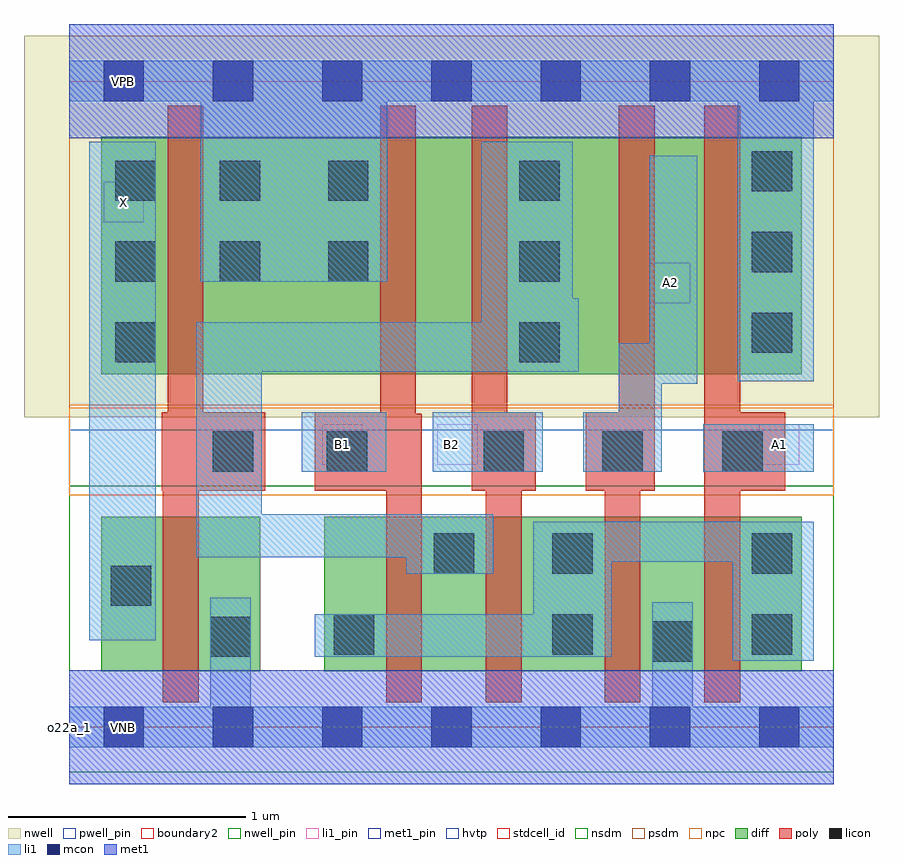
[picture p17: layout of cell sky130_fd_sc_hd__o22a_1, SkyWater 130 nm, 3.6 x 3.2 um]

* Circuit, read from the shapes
.subckt sky130_fd_sc_hd__o22a_1 A1 A2 B1 B2 VGND VNB VPB VPWR X
XM1 VGND n1 X VNB sky130_fd_pr__nfet_01v8 w=0.65 l=0.15
XM2 n1 B1 n2 VNB sky130_fd_pr__nfet_01v8 w=0.65 l=0.15
XM3 n2 B2 n1 VNB sky130_fd_pr__nfet_01v8 w=0.65 l=0.15
XM4 VGND A2 n2 VNB sky130_fd_pr__nfet_01v8 w=0.65 l=0.15
XM5 n2 A1 VGND VNB sky130_fd_pr__nfet_01v8 w=0.65 l=0.15
XM6 VPWR n1 X VPB sky130_fd_pr__pfet_01v8_hvt w=1 l=0.15
XM7 n3 B1 VPWR VPB sky130_fd_pr__pfet_01v8_hvt w=1 l=0.15
XM8 n1 B2 n3 VPB sky130_fd_pr__pfet_01v8_hvt w=1 l=0.15
XM9 n4 A2 n1 VPB sky130_fd_pr__pfet_01v8_hvt w=1 l=0.15
XM10 VPWR A1 n4 VPB sky130_fd_pr__pfet_01v8_hvt w=1 l=0.15
.ends

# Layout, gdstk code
import gdstk
lib = gdstk.Library(unit=1e-6, precision=1e-09)
def R(c, l, rs):  # rectangles x0, y0, x1, y1
    for r in rs: c.add(gdstk.rectangle(r[:2], r[2:], *l))
def A(c, l, x, y, w, h, nx, ny, dx, dy):  # array of equal rectangles
    R(c, l, [(x+i*dx, y+j*dy, x+i*dx+w, y+j*dy+h) for i in range(nx) for j in range(ny)])
def P(c, l, *ps):  # polygons
    for p in ps: c.add(gdstk.Polygon(p, *l))
nwell_pin = (64, 16)
nwell = (64, 20)
diff = (65, 20)
poly = (66, 20)
licon = (66, 44)
li1_pin = (67, 16)
li1 = (67, 20)
mcon = (67, 44)
met1_pin = (68, 16)
met1 = (68, 20)
hvtp = (78, 44)
stdcell_id = (81, 4)
nsdm = (93, 44)
psdm = (94, 20)
npc = (95, 20)
pwell_pin = (122, 16)
boundary2 = (236, 0)

sky130_fd_sc_hd__o22a_1 = lib.new_cell('sky130_fd_sc_hd__o22a_1')
R(sky130_fd_sc_hd__o22a_1, nwell_pin, [(0.145,2.635,0.315,2.805)])
R(sky130_fd_sc_hd__o22a_1, nwell, [(-0.19,1.305,3.41,2.91)])
R(sky130_fd_sc_hd__o22a_1, diff, [(0.135,0.235,0.805,0.885), (1.075,0.235,3.085,0.885), (0.135,1.485,3.085,2.485)])
P(sky130_fd_sc_hd__o22a_1, poly, [(0.825,1.325),(0.565,1.325),(0.565,2.615),(0.415,2.615),(0.415,1.325),(0.39,1.325),(0.39,0.995),(0.395,0.995),(0.395,0.105),(0.545,0.105),(0.545,0.995),(0.825,0.995)],
  [(1.485,1.32),(1.46,1.32),(1.46,2.615),(1.31,2.615),(1.31,1.325),(1.035,1.325),(1.035,0.995),(1.335,0.995),(1.335,0.105),(1.485,0.105)],
  [(1.965,1.325),(1.845,1.325),(1.845,2.615),(1.695,2.615),(1.695,0.995),(1.755,0.995),(1.755,0.105),(1.905,0.105),(1.905,0.995),(1.965,0.995)],
  [(2.465,2.615),(2.315,2.615),(2.315,1.325),(2.175,1.325),(2.175,0.995),(2.255,0.995),(2.255,0.105),(2.405,0.105),(2.405,0.995),(2.465,0.995)],
  [(3.015,1.325),(2.825,1.325),(2.825,2.615),(2.675,2.615),(2.675,0.105),(2.825,0.105),(2.825,0.995),(3.015,0.995)])
A(sky130_fd_sc_hd__o22a_1, licon, 0.195, 1.535, 0.17, 0.17, 1, 3, 0, 0.34)
A(sky130_fd_sc_hd__o22a_1, licon, 1.895, 1.535, 0.17, 0.17, 1, 3, 0, 0.34)
A(sky130_fd_sc_hd__o22a_1, licon, 2.875, 1.575, 0.17, 0.17, 1, 3, 0, 0.34)
R(sky130_fd_sc_hd__o22a_1, licon, [(2.455,0.275,2.625,0.445), (0.595,0.295,0.765,0.465), (1.115,0.305,1.285,0.475), (2.035,0.305,2.205,0.475), (2.875,0.305,3.045,0.475), (0.175,0.51,0.345,0.68), (1.535,0.645,1.705,0.815), (2.035,0.645,2.205,0.815), (2.875,0.645,3.045,0.815), (0.605,1.075,0.775,1.245), (1.085,1.075,1.255,1.245), (1.745,1.075,1.915,1.245), (2.245,1.075,2.415,1.245), (2.75,1.075,2.92,1.245), (0.635,1.875,0.805,2.045), (1.09,1.875,1.26,2.045), (0.635,2.215,0.805,2.385), (1.09,2.215,1.26,2.385)])
R(sky130_fd_sc_hd__o22a_1, li1_pin, [(1.065,1.105,1.235,1.275), (1.55,1.105,1.72,1.275), (2.905,1.105,3.075,1.275), (2.445,1.785,2.615,1.955), (0.145,2.125,0.315,2.295)])
R(sky130_fd_sc_hd__o22a_1, li1, [(0.085,0.365,0.365,2.465), (0.98,1.075,1.335,1.325), (1.53,1.075,1.995,1.325), (2.67,1.075,3.135,1.275)])
P(sky130_fd_sc_hd__o22a_1, li1, [(2.12,2.465),(1.735,2.465),(1.735,1.705),(0.535,1.705),(0.535,0.715),(1.42,0.715),(1.42,0.645),(1.785,0.645),(1.785,0.895),(0.81,0.895),(0.81,1.495),(2.145,1.495),(2.145,1.805),(2.12,1.805)],
  [(2.645,2.405),(2.445,2.405),(2.445,1.615),(2.315,1.615),(2.315,1.325),(2.165,1.325),(2.165,1.075),(2.495,1.075),(2.495,1.445),(2.645,1.445)],
  [(3.22,0.085),(2.625,0.085),(2.625,0.525),(2.455,0.525),(2.455,0.085),(0.765,0.085),(0.765,0.545),(0.595,0.545),(0.595,0.085),(0,0.085),(0,-0.085),(3.22,-0.085)],
  [(3.135,0.865),(1.955,0.865),(1.955,0.475),(1.035,0.475),(1.035,0.295),(2.285,0.295),(2.285,0.695),(2.795,0.695),(2.795,0.28),(3.135,0.28)],
  [(3.22,2.805),(0,2.805),(0,2.635),(0.555,2.635),(0.555,1.875),(1.34,1.875),(1.34,2.635),(2.815,2.635),(2.815,1.455),(3.135,1.455),(3.135,2.635),(3.22,2.635)])
A(sky130_fd_sc_hd__o22a_1, mcon, 0.145, -0.085, 0.17, 0.17, 7, 2, 0.46, 2.72)
R(sky130_fd_sc_hd__o22a_1, met1_pin, [(0.145,-0.085,0.315,0.085), (0.145,2.635,0.315,2.805)])
R(sky130_fd_sc_hd__o22a_1, hvtp, [(0,1.25,3.22,2.72)])
R(sky130_fd_sc_hd__o22a_1, stdcell_id, [(0,0,3.22,2.72)])
R(sky130_fd_sc_hd__o22a_1, nsdm, [(0,-0.19,3.22,1.015)])
R(sky130_fd_sc_hd__o22a_1, psdm, [(0,1.355,3.22,2.91)])
R(sky130_fd_sc_hd__o22a_1, npc, [(0,0.975,3.22,1.345)])
R(sky130_fd_sc_hd__o22a_1, pwell_pin, [(0.145,-0.085,0.315,0.085)])
R(sky130_fd_sc_hd__o22a_1, boundary2, [(0,0,3.22,2.72)])
sky130_fd_sc_hd__o22a_1.add(gdstk.FlexPath([(0,2.72),(3.22,2.72)], 0.48, ends="flush", simple_path=True, layer=68, datatype=20))  # met1
sky130_fd_sc_hd__o22a_1.add(gdstk.FlexPath([(0,0),(3.22,0)], 0.48, ends="flush", simple_path=True, layer=68, datatype=20))  # met1
sky130_fd_sc_hd__o22a_1.add(gdstk.Label('A2', (2.53,1.87), layer=67, texttype=5))
sky130_fd_sc_hd__o22a_1.add(gdstk.Label('X', (0.23,2.21), layer=67, texttype=5))
sky130_fd_sc_hd__o22a_1.add(gdstk.Label('B1', (1.15,1.19), layer=67, texttype=5))
sky130_fd_sc_hd__o22a_1.add(gdstk.Label('A1', (2.99,1.19), layer=67, texttype=5))
sky130_fd_sc_hd__o22a_1.add(gdstk.Label('B2', (1.61,1.19), layer=67, texttype=5))
sky130_fd_sc_hd__o22a_1.add(gdstk.Label('VPB', (0.23,2.72), layer=64, texttype=5))
sky130_fd_sc_hd__o22a_1.add(gdstk.Label('VNB', (0.23,0), layer=64, texttype=59))
sky130_fd_sc_hd__o22a_1.add(gdstk.Label('VGND', (0.23,0), layer=68, texttype=5))
sky130_fd_sc_hd__o22a_1.add(gdstk.Label('VPWR', (0.23,2.72), layer=68, texttype=5))
sky130_fd_sc_hd__o22a_1.add(gdstk.Label('o22a_1', (0,0), layer=83, texttype=44))

lib.write_gds('sky130_fd_sc_hd__o22a_1.gds')
